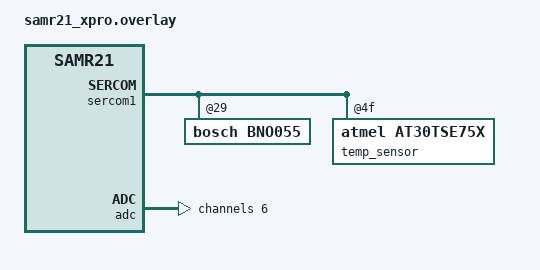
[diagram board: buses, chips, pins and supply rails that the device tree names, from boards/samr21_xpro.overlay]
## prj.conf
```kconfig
# Copyright (c) 2021 Nordic Semiconductor ASA
# SPDX-License-Identifier: Apache-2.0
#
# This file contains selected Kconfig options for the application.

CONFIG_I2C=y
CONFIG_ADC=y
CONFIG_SENSOR=y
CONFIG_BLINK=y
CONFIG_CBPRINTF_FP_SUPPORT=y
CONFIG_NETWORKING=y
CONFIG_NET_L2_IEEE802154=y
CONFIG_NET_IPV4=n
CONFIG_NET_IPV6=n
CONFIG_NET_SOCKETS=y
CONFIG_NET_SOCKETS_PACKET=y
CONFIG_IEEE802154=y
CONFIG_LOG=y
CONFIG_ENTROPY_GENERATOR=y
CONFIG_TEST_RANDOM_GENERATOR=y


# API de Gerenciamento de Rede 
CONFIG_NET_MGMT=y
CONFIG_NET_MGMT_EVENT=y
```

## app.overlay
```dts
&ieee802154 {
    status = "disabled";
};

&sercom4 {
    status = "disabled";
};
```

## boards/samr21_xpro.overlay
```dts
/ {
    aliases {
        ambient-temp = &temp_sensor;
        light-adc = &adc;
    };
};

&sercom1 {
    status = "okay";

    bno055@29 {
        compatible = "bosch,bno055";
        reg = <0x29>;
    };

    temp_sensor: at30tse75x@4f {
        compatible = "atmel,at30tse75x";
        reg = <0x4f>;
        status = "okay";
    };
};

&adc {
    status = "okay";
    #address-cells = <1>;
    #size-cells = <0>;

    channel@6 {
        reg = <6>;
        zephyr,gain = "ADC_GAIN_1";
        zephyr,reference = "ADC_REF_VDD_1";
        zephyr,acquisition-time = <ADC_ACQ_TIME_DEFAULT>;
        zephyr,resolution = <12>;
    };
};
```

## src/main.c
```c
#include <zephyr/kernel.h>
#include <zephyr/device.h>
#include <zephyr/drivers/i2c.h>
#include <zephyr/drivers/adc.h>
#include <zephyr/net/socket.h>
#include <zephyr/net/ethernet.h>
#include <arpa/inet.h>
#include <errno.h>

// bibliotecas de gerenciamento 
#include <zephyr/net/net_if.h>
#include <zephyr/net/net_mgmt.h>
#include <zephyr/net/ieee802154_mgmt.h>

#define I2C_NODE DT_NODELABEL(sercom1)
#define BNO055_ADDR 0x29
#define TEMP_SENSOR_ADDR 0x4f
#define TEMP_REGISTER 0x00
#define ADC_NODE DT_ALIAS(light_adc)

#define REG_OPR_MODE 0x3D
#define REG_ACCEL_DATA_X_LSB 0x08
#define MODE_ACCONLY 0x01
#define ADC_CHANNEL_ID 6U

struct __attribute__((packed)) sensor_packet {
    uint8_t  node_id;
    uint16_t seq;
    uint16_t light;
    uint16_t temp;
    int16_t  accel_x;
    int16_t  accel_y;
    int16_t  accel_z;
    uint32_t uptime_ms;
    uint8_t  flags;
};

struct sensor_packet tx_packet = {
    .node_id = 1,
    .seq = 0
};

int main(void) {
    const struct device *i2c_dev = DEVICE_DT_GET(I2C_NODE);
    const struct device *adc_dev = DEVICE_DT_GET(ADC_NODE);
    struct adc_channel_cfg channel_cfg = {
        .channel_id = ADC_CHANNEL_ID,
        .gain = ADC_GAIN_1,
        .reference = ADC_REF_VDD_1,
        .acquisition_time = ADC_ACQ_TIME_DEFAULT,
    };
    uint16_t light_raw = 0;
    struct adc_sequence sequence = {
        .buffer = &light_raw,
        .buffer_size = sizeof(light_raw),
        .resolution = 12,
        .oversampling = 0,
        .channels = BIT(ADC_CHANNEL_ID),
    };
    uint8_t chip_id = 0;
    uint8_t accel_bytes[6];
    uint8_t temp_bytes[2];
    int16_t temp_raw;
    int32_t light_mv;
    int ret;

    if (!device_is_ready(i2c_dev)) {
        printk("Erro: I2C nao pronto.\n");
        return 0;
    }

    if (!device_is_ready(adc_dev)) {
        printk("Erro: ADC nao pronto.\n");
        return 0;
    }

    ret = adc_channel_setup(adc_dev, &channel_cfg);
    if (ret < 0) {
        printk("Erro ao configurar canal ADC (%d).\n", ret);
        return 0;
    }

    i2c_reg_read_byte(i2c_dev, BNO055_ADDR, 0x00, &chip_id);
    printk("==> CHIP ID LIDO DO SENSOR: 0x%X\n", chip_id);

    i2c_reg_write_byte(i2c_dev, BNO055_ADDR, REG_OPR_MODE, MODE_ACCONLY);
    k_msleep(50);

    // ------- INÍCIO DA CONFIGURAÇÃO DE RÁDIO ------------ 
    struct net_if *iface = net_if_get_default();
    if (!iface) {
        printk("Erro: Interface de radio nao encontrada!\n");
        return 0;
    }
    // Definindo a rede (Você precisará combinar esses valores com o Grupo B)
    uint16_t pan_id = 0xCAFE; 
    uint16_t channel = 15;   

    // Aplicando as configurações ao hardware
    net_mgmt(NET_REQUEST_IEEE802154_SET_PAN_ID, iface, &pan_id, sizeof(pan_id));
    net_mgmt(NET_REQUEST_IEEE802154_SET_CHANNEL, iface, &channel, sizeof(channel));
    
    printk("=> Radio Sintonizado: PAN ID 0x%04X | Canal %d\n", pan_id, channel);
    // --- FIM DA CONFIGURAÇÃO DO RÁDIO ---

    int sock = zsock_socket(AF_PACKET, SOCK_RAW, htons(ETH_P_IEEE802154));
    if (sock < 0) {
        printk("==> Erro ao criar socket do radio! errno: %d\n", errno);
    } else {
        printk("==> Radio pronto!\n");
    }

    while (1) {
        ret = i2c_burst_read(i2c_dev, BNO055_ADDR, REG_ACCEL_DATA_X_LSB, accel_bytes, 6);
        if (ret == 0) {
            tx_packet.accel_x = (int16_t)((accel_bytes[1] << 8) | accel_bytes[0]);
            tx_packet.accel_y = (int16_t)((accel_bytes[3] << 8) | accel_bytes[2]);
            tx_packet.accel_z = (int16_t)((accel_bytes[5] << 8) | accel_bytes[4]);
        }

        ret = i2c_burst_read(i2c_dev, TEMP_SENSOR_ADDR, TEMP_REGISTER,
                             temp_bytes, sizeof(temp_bytes));
        if (ret == 0) {
            temp_raw = (int16_t)((temp_bytes[0] << 8) | temp_bytes[1]);
            tx_packet.temp = (uint16_t)((temp_raw * 625) / 1000);
        }

        ret = adc_read(adc_dev, &sequence);
        if (ret == 0) {
            light_mv = (int32_t)light_raw;
            ret = adc_raw_to_millivolts(3300, ADC_GAIN_1, 12, &light_mv);
            if (ret == 0) {
                tx_packet.light = (uint16_t)light_mv;
            }
        }

        tx_packet.uptime_ms = k_uptime_get_32();
        tx_packet.seq++;

        printk("Montado [%d] -> Luz:%u Temp:%u.%uC X:%d Y:%d Z:%d\n",
               tx_packet.seq, tx_packet.light, tx_packet.temp / 10,
               tx_packet.temp % 10, tx_packet.accel_x, tx_packet.accel_y, tx_packet.accel_z);

        if (sock >= 0) {
            int sent = zsock_send(sock, &tx_packet, sizeof(tx_packet), 0);
            if (sent >= 0) {
                printk("--> %d bytes enviados pelo radio!\n", sent);
            }
        }
        k_msleep(1000);
    }
    return 0;
}
```
